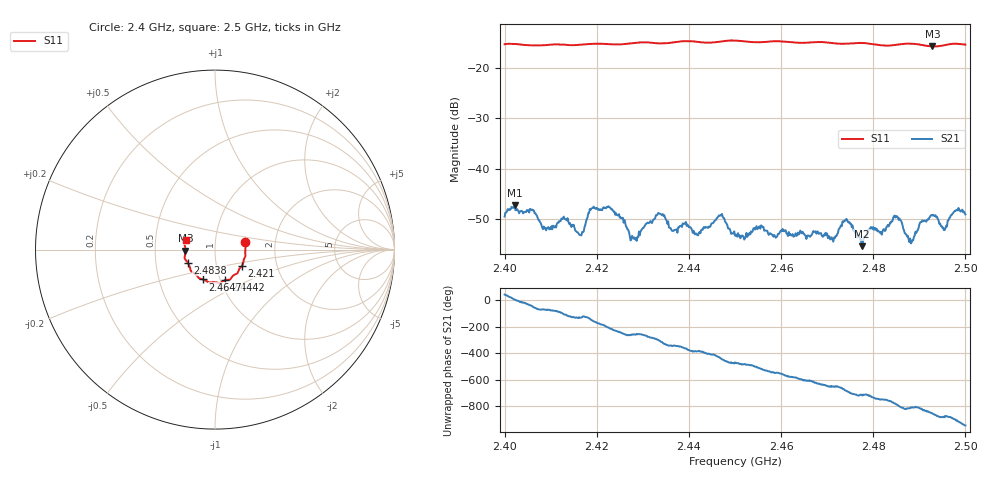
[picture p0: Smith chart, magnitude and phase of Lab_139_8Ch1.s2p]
# Hz S RI R 50
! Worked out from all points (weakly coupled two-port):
!   601 points, 2.4 GHz to 2.5 GHz, reference 50 ohm
!   highest |S21| = -47.33 dB at 2.4022 GHz (marker M1); lowest = -55.4 dB at 2.4775 GHz (marker M2)
!   lowest |S11| = -15.7 dB at 2.4928 GHz (marker M3), VSWR 1.40, Z = 35.8 - j0.406 ohm
!   |S11| at or under -10 dB: start of sweep to end of sweep
!   S12 and S22 are empty: the file has one direction only
!   S11 on the Smith chart (normalised r, x): 2.4 GHz: 1.40, +0.12; 2.421 GHz: 1.33, -0.24; 2.4442 GHz: 1.05, -0.37; 2.4647 GHz: 0.83, -0.28; 2.4838 GHz: 0.73, -0.11; 2.5 GHz: 0.71, +0.08
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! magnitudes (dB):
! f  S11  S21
! 2.4 GHz  -15.2  -49.5
! 2.4022 GHz  -15.2  -47.3
! 2.4167 GHz  -15.3  -53.3
! 2.4187 GHz  -15.1  -48.2
! 2.421 GHz  -15.1  -48.2
! 2.4278 GHz  -15.0  -53.7
! 2.4333 GHz  -15.0  -48.8
! 2.4367 GHz  -14.8  -52.4
! 2.4442 GHz  -14.9  -51.8
! 2.447 GHz  -14.7  -49.3
! 2.45 GHz  -14.5  -53.3
! 2.4647 GHz  -14.9  -52.6
! 2.4667 GHz  -14.8  -53.2
! 2.4712 GHz  -15.0  -54.1
! 2.4742 GHz  -15.1  -50.0
! 2.4775 GHz  -15.0  -55.4
! 2.4833 GHz  -15.5  -51.5
! 2.4838 GHz  -15.5  -50.8
! 2.4882 GHz  -15.1  -54.9
! 2.4928 GHz  -15.7  -49.3
! 2.4955 GHz  -15.4  -52.2
! 2.5 GHz  -15.3  -49.1
